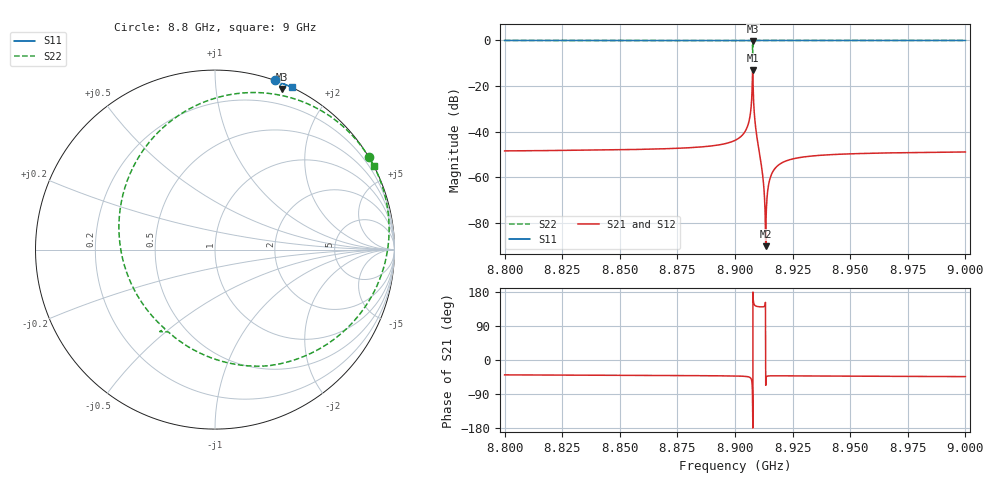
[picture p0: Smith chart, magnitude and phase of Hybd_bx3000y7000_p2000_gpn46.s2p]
! Sonnet Data File
! From: emgraph Version : 16.52
! From Project: Resonator2
! Data is De-embedded
! Data File Written: 10/06/2017 09:13:21
!< HDATE 10/05/2017 15:18:40
!< MDATE 10/05/2017 15:18:40
!< PARAMS
!< gap = 46.0
!< Length = 400.0
!< Pwid1 = 2000.0
!< Pwid2 = 2000.0
!< END PARAMS
# GHZ S MA R 50.0 !  non standard terminations in data
! TERM 51.80000 0.000000 35.97000 0.000000
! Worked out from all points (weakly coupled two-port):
!   1595 points, 8.8 GHz to 9 GHz, reference 50 ohm
!   highest |S21| = -13.17 dB at 8.9076 GHz (marker M1); lowest = -90.2 dB at 8.9133 GHz (marker M2)
!   lowest |S11| = -0.3 dB at 8.9077 GHz (marker M3), VSWR 62.54, Z = 2.59 + j74.8 ohm
!   |S11| at or under -10 dB: nowhere
!   |S22| runs from -6.0 to 0.0 dB; largest |S21 - S12| = 0
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8.8  1 70.6  0.00379 -39.2  0.00379 -39.2  1 30.9
!< P1 F=8.8 Eeff=(6.44679989 -2.9721e-5) Z0=(51.7992624 1.19519e-4) R=0.0 C=0.0
!< P2 F=8.8 Eeff=(5.36817953 -2.3731e-5) Z0=(35.9853883 8.0522e-5) R=0.0 C=0.0
8.8334  1 69.6  0.003915 -40.0  0.003915 -40.0  1 30.3
8.8668  1 68.6  0.004183 -40.9  0.004183 -40.9  1 29.6
8.9  1 67.6  0.006442 -42.2  0.006442 -42.2  0.9999 28.2
8.905361  0.9999 67.4  0.01281 -43.9  0.01281 -43.9  0.9994 25.6
8.906598  0.9997 67.3  0.02331 -46.6  0.02331 -46.6  0.9971 21.4
8.907367  0.9968 66.9  0.07097 -59.2  0.07097 -59.2  0.9662 1.8
8.907541  0.9877 66.5  0.1389 -79.3  0.1389 -79.3  0.8549 -31.1
8.907604  0.9766 66.6  0.19 -99.6  0.19 -99.6  0.6936 -69.5
8.907647  0.9686 67.1  0.2194 -122.0  0.2194 -122.0  0.5509 -124.0
8.907663  0.9685 67.4  0.2174 -131.1  0.2174 -131.1  0.5023 -149.7
8.907736  0.9804 68.3  0.1718 -168.5  0.1718 -168.5  0.7259 116.0
8.907823  0.992 68.2  0.1099 169.6  0.1099 169.6  0.8964 77.4
8.908042  0.9983 67.8  0.05009 152.6  0.05009 152.6  0.9784 50.7
8.908608  0.9998 67.6  0.01838 144.2  0.01838 144.2  0.9965 37.9
8.91194  1 67.3  0.001184 140.3  0.001184 140.3  0.9998 31.0
8.913342  1 67.3  3.087e-05 -66.8  3.087e-05 -66.8  0.9999 30.5
8.915018  1 67.2  0.0008711 -41.9  0.0008711 -41.9  0.9999 30.1
8.917407  1 67.1  0.001573 -41.7  0.001573 -41.7  1 29.8
8.9334  1 66.6  0.002928 -42.2  0.002928 -42.2  1 29.0
8.9668  1 65.6  0.003425 -43.0  0.003425 -43.0  1 28.3
9  1 64.6  0.00359 -43.8  0.00359 -43.8  1 27.7
